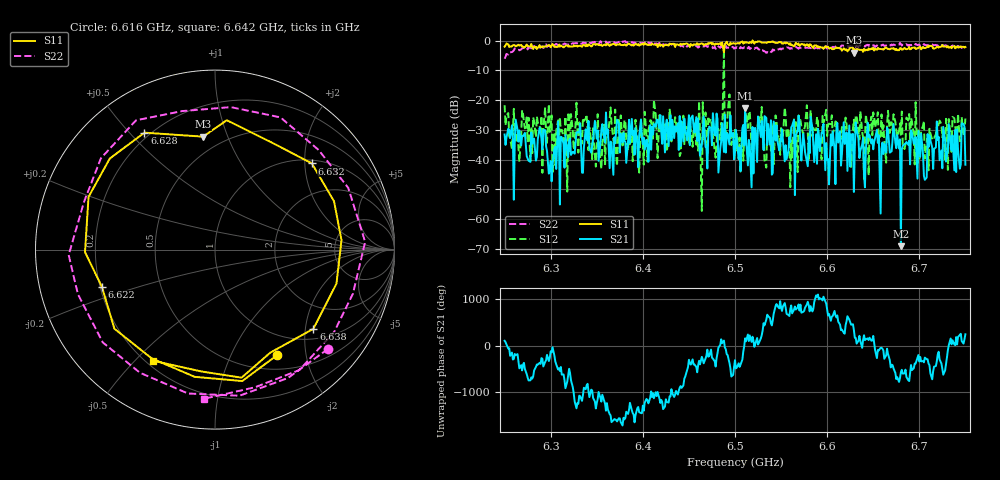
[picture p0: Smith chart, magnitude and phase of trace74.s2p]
# Hz S RI R 50
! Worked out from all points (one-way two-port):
!   401 points, 6.25 GHz to 6.75 GHz, reference 50 ohm
!   highest |S21| = -22.77 dB at 6.511 GHz (marker M1); lowest = -69.1 dB at 6.68 GHz (marker M2)
!   lowest |S11| = -4.0 dB at 6.629 GHz (marker M3), VSWR 4.45, Z = 19.5 + j41 ohm
!   |S11| at or under -10 dB: nowhere
!   |S22| runs from -6.0 to -0.1 dB; largest |S21 - S12| = 0.72
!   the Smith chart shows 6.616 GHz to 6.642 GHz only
!   S11 on the Smith chart (normalised r, x): 6.616 GHz: 0.69, -1.52; 6.622 GHz: 0.21, -0.15; 6.628 GHz: 0.18, +0.55; 6.632 GHz: 1.08, +2.17; 6.638 GHz: 1.26, -2.21; 6.642 GHz: 0.23, -0.57
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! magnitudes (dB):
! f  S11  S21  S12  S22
! 6.25 GHz  -2.0  -31.6  -21.7  -6.0
! 6.264 GHz  -1.5  -29.9  -30.9  -3.1
! 6.291 GHz  -2.2  -36.6  -44.5  -1.9
! 6.3 GHz  -2.2  -40.5  -28.1  -1.7
! 6.334 GHz  -2.0  -44.4  -34.6  -0.9
! 6.356 GHz  -1.7  -28.1  -34.8  -0.4
! 6.418 GHz  -1.1  -29.5  -25.0  -0.7
! 6.5 GHz  -1.0  -37.5  -30.0  -2.3
! 6.511 GHz  -0.6  -22.8  -28.7  -2.2
! 6.584 GHz  -2.1  -29.3  -32.2  -2.2
! 6.616 GHz  -3.3  -38.2  -29.0  -1.5
! 6.622 GHz  -3.6  -43.8  -33.1  -1.8
! 6.628 GHz  -2.4  -31.4  -29.5  -1.8
! 6.629 GHz  -4.0  -50.9  -26.6  -1.5
! 6.632 GHz  -2.8  -29.9  -25.2  -1.7
! 6.638 GHz  -3.1  -34.9  -30.6  -1.9
! 6.642 GHz  -3.0  -36.8  -24.9  -1.6
! 6.668 GHz  -2.9  -37.6  -31.0  -1.5
! 6.68 GHz  -2.5  -69.1  -31.6  -1.1
! 6.694 GHz  -2.3  -34.7  -31.5  -1.2
! 6.705 GHz  -2.4  -45.5  -27.0  -1.1
! 6.75 GHz  -2.1  -41.7  -26.2  -2.3
